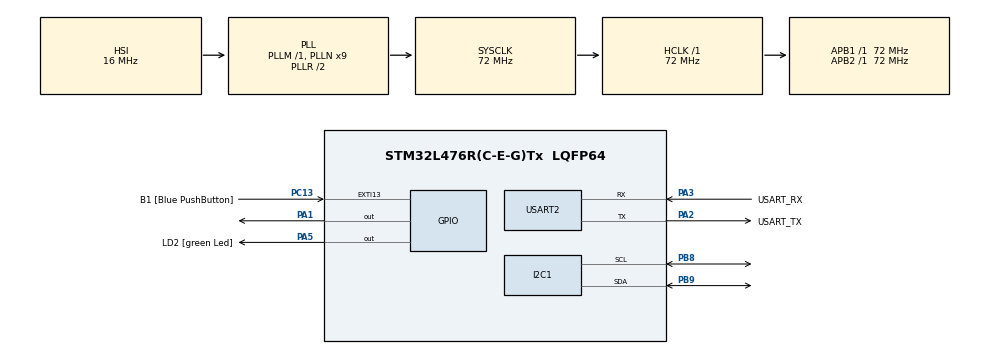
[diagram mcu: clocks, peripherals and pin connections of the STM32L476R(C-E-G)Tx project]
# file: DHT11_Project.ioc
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I2C1.Timing=0x10C18DCC
Mcu.Family=STM32L4
Mcu.Name=STM32L476R(C-E-G)Tx
Mcu.Package=LQFP64
NVIC.PriorityGroup=NVIC_PRIORITYGROUP_4
PA1.Signal=GPIO_Output
PA13\ (JTMS-SWDIO).GPIO_Label=TMS
PA13\ (JTMS-SWDIO).Mode=Serial_Wire
PA13\ (JTMS-SWDIO).Signal=SYS_JTMS-SWDIO
PA14\ (JTCK-SWCLK).GPIO_Label=TCK
PA14\ (JTCK-SWCLK).Mode=Serial_Wire
PA14\ (JTCK-SWCLK).Signal=SYS_JTCK-SWCLK
PA2.GPIO_Label=USART_TX
PA2.GPIO_Mode=GPIO_MODE_AF_PP
PA2.GPIO_PuPd=GPIO_NOPULL
PA2.GPIO_Speed=GPIO_SPEED_FREQ_VERY_HIGH
PA2.Mode=Asynchronous
PA2.Signal=USART2_TX
PA3.GPIO_Label=USART_RX
PA3.GPIO_Mode=GPIO_MODE_AF_PP
PA3.GPIO_PuPd=GPIO_NOPULL
PA3.GPIO_Speed=GPIO_SPEED_FREQ_VERY_HIGH
PA3.Mode=Asynchronous
PA3.Signal=USART2_RX
PA5.GPIO_Label=LD2 [green Led]
PA5.GPIO_ModeDefaultOutputPP=GPIO_MODE_OUTPUT_PP
PA5.GPIO_PuPd=GPIO_NOPULL
PA5.GPIO_Speed=GPIO_SPEED_FREQ_LOW
PA5.Signal=GPIO_Output
PB3\ (JTDO-TRACESWO).GPIO_Label=SWO
PB3\ (JTDO-TRACESWO).Signal=SYS_JTDO-SWO
PB8.Mode=I2C
PB8.Signal=I2C1_SCL
PB9.Mode=I2C
PB9.Signal=I2C1_SDA
PC13.GPIO_Label=B1 [Blue PushButton]
PC13.GPIO_ModeDefaultEXTI=GPIO_MODE_IT_FALLING
PC13.GPIO_PuPd=GPIO_NOPULL
PC13.Signal=GPXTI13
PC14-OSC32_IN\ (PC14).Signal=RCC_OSC32_IN
PC15-OSC32_OUT\ (PC15).Signal=RCC_OSC32_OUT
PH0-OSC_IN\ (PH0).Mode=HSE-External-Oscillator
PH0-OSC_IN\ (PH0).Signal=RCC_OSC_IN
PH1-OSC_OUT\ (PH1).Mode=HSE-External-Oscillator
PH1-OSC_OUT\ (PH1).Signal=RCC_OSC_OUT
ProjectManager.HeapSize=0x200
ProjectManager.StackSize=0x400
ProjectManager.TargetToolchain=STM32CubeIDE
RCC.ADCFreq_Value=64000000
RCC.AHBFreq_Value=72000000
RCC.APB1Freq_Value=72000000
RCC.APB1TimFreq_Value=72000000
RCC.APB2Freq_Value=72000000
RCC.APB2TimFreq_Value=72000000
RCC.CortexFreq_Value=72000000
RCC.HCLKFreq_Value=72000000
RCC.HSE_VALUE=8000000
RCC.HSI_VALUE=16000000
RCC.MSI_VALUE=4000000
RCC.PLLN=9
RCC.PLLSourceVirtual=RCC_PLLSOURCE_HSI
RCC.PREFETCH_ENABLE=1
RCC.SYSCLKFreq_VALUE=72000000
RCC.SYSCLKSource=RCC_SYSCLKSOURCE_PLLCLK
RCC.USBFreq_Value=64000000
RCC.VCOOutputFreq_Value=144000000
TIM1.Prescaler=71
USART2.VirtualMode-Asynchronous=VM_ASYNC
VP_TIM1_VS_ClockSourceINT.Mode=Internal
board=NUCLEO-L476RG

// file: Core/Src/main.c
/* USER CODE BEGIN Header */
/**
  ******************************************************************************
  * @file           : main.c
  * @brief          : Main program body
  ******************************************************************************
  * @attention
  *
  * Copyright (c) 2026 STMicroelectronics.
  * All rights reserved.
  *
  * This software is licensed under terms that can be found in the LICENSE file
  * in the root directory of this software component.
  * If no LICENSE file comes with this software, it is provided AS-IS.
  *
  ******************************************************************************
  */
/* USER CODE END Header */
#include "main.h"
#include "i2c.h"
#include "tim.h"
#include "usart.h"
#include "gpio.h"

/* USER CODE BEGIN Includes */
#include "lcd.h"
#include "stdio.h"
/* USER CODE END Includes */

/* USER CODE BEGIN PTD */

void delay (uint16_t time)
{
	/* change your code here for the delay in microseconds */
	__HAL_TIM_SET_COUNTER(&htim1, 0);
	while ((__HAL_TIM_GET_COUNTER(&htim1))<time);
}

/* USER CODE END PTD */

void SystemClock_Config(void);

/* USER CODE BEGIN 0 */

#define DHT22_PORT GPIOA
#define DHT22_PIN GPIO_PIN_1
uint8_t RH1, RH2, TC1, TC2, SUM, CHECK;
uint32_t pMillis, cMillis;
float tCelsius = 0;
float tFahrenheit = 0;
float RH = 0;

void Display_Temp (float Temp)
{
	lcd_position(&hi2c1, 0, 0);
	char buffer[16];
	snprintf(buffer, sizeof(buffer), "TEMP: %.2f C", Temp);
	lcd_print(&hi2c1, buffer);

}

void Display_Rh (float Rh)
{
	 lcd_position(&hi2c1, 0, 1);

	 char buffer[16];
	 snprintf(buffer, sizeof(buffer), "HUMIDITY: %.2f ", Rh);
	 lcd_print(&hi2c1, buffer);

	  lcd_print(&hi2c1,buffer);

}

uint8_t DHT22_Start (void)
{
  uint8_t Response = 0;
  GPIO_InitTypeDef GPIO_InitStructPrivate = {0};
  GPIO_InitStructPrivate.Pin = DHT22_PIN;
  GPIO_InitStructPrivate.Mode = GPIO_MODE_OUTPUT_PP;
  GPIO_InitStructPrivate.Speed = GPIO_SPEED_FREQ_LOW;
  GPIO_InitStructPrivate.Pull = GPIO_NOPULL;
  HAL_GPIO_Init(DHT22_PORT, &GPIO_InitStructPrivate); // set the pin as output
  HAL_GPIO_WritePin (DHT22_PORT, DHT22_PIN, 0);   // pull the pin low
  delay (1300);   // wait for 1300us
  HAL_GPIO_WritePin (DHT22_PORT, DHT22_PIN, 1);   // pull the pin high
  delay (30);   // wait for 30us
  GPIO_InitStructPrivate.Mode = GPIO_MODE_INPUT;
  GPIO_InitStructPrivate.Pull = GPIO_PULLUP;
  HAL_GPIO_Init(DHT22_PORT, &GPIO_InitStructPrivate); // set the pin as input
  delay (40);
  if (!(HAL_GPIO_ReadPin (DHT22_PORT, DHT22_PIN)))
  {
    delay (80);
    if ((HAL_GPIO_ReadPin (DHT22_PORT, DHT22_PIN))) Response = 1;
  }
  pMillis = HAL_GetTick();
  cMillis = HAL_GetTick();
  while ((HAL_GPIO_ReadPin (DHT22_PORT, DHT22_PIN)) && pMillis + 2 > cMillis)
  {
    cMillis = HAL_GetTick();
  }
  return Response;
}

/*
 * On lit bit par bit du MSB au LSB
 * On obtient le nombre de ticks du microcontrolleur via la fonction HAL_GetTick()
 * Tant que le bit est à 0, on attend tout en actualisant la valuer de cMillis
 *
 * L'idée ici c'est que "0" correspond à un HIGH pendant 26-28us et que "1" corresponde à "70us"
 * Donc chaque fois on attend que le Pin passe à 0 avant d'enclencher le cycle
 *
 * Ensuite, on attend que le pin passe à 1, puis on attend 40s,
 * Après 40s, si le pin est toujours HIGH ca signifie qu'on a un "1"
 * Si non le pin sera à LOW et on a donc un "0"
 *
 * Après on verifie si le pin est à LOW avant de lire les autres bits
 * */
uint8_t DHT22_Read (void)
{
  uint8_t a,b;
  for (a=0;a<8;a++)
  {
    pMillis = HAL_GetTick();
    cMillis = HAL_GetTick();
    while (!(HAL_GPIO_ReadPin (DHT22_PORT, DHT22_PIN)) && pMillis + 2 > cMillis)
    {  // wait for the pin to go high
      cMillis = HAL_GetTick();
    }
    delay (40);   // wait for 40 us
    if (!(HAL_GPIO_ReadPin (DHT22_PORT, DHT22_PIN)))   // if the pin is low
      b&= ~(1<<(7-a));
    else
      b|= (1<<(7-a));            // if the pin is high
    pMillis = HAL_GetTick();
    cMillis = HAL_GetTick();
    while ((HAL_GPIO_ReadPin (DHT22_PORT, DHT22_PIN)) && pMillis + 2 > cMillis)
    {  // wait for the pin to go low
      cMillis = HAL_GetTick();
    }
  }
  return b;
}

/* USER CODE END 0 */

int main(void)
{

  /* MCU Configuration--------------------------------------------------------*/

  /* Reset of all peripherals, Initializes the Flash interface and the Systick. */
  HAL_Init();

  /* Configure the system clock */
  SystemClock_Config();

  /* Initialize all configured peripherals */
  MX_GPIO_Init();
  MX_USART2_UART_Init();
  MX_I2C1_Init();
  MX_TIM1_Init();
  /* USER CODE BEGIN 2 */
  rgb_lcd lcd;
  lcd_init(&hi2c1, &lcd);
  /* USER CODE END 2 */
  HAL_TIM_Base_Start(&htim1);
  /* Infinite loop */
  while (1)
  {
	  if(DHT22_Start())
	  	    {
	  	      RH1 = DHT22_Read(); // First 8bits of humidity
	  	      RH2 = DHT22_Read(); // Second 8bits of Relative humidity
	  	      TC1 = DHT22_Read(); // First 8bits of Celsius
	  	      TC2 = DHT22_Read(); // Second 8bits of Celsius
	  	      SUM = DHT22_Read(); // Check sum
	  	      CHECK = RH1 + RH2 + TC1 + TC2;
	  	      if (CHECK == SUM)
	  	      {
	  	        if (TC1>127) // If TC1=10000000, negative temperature
	  	        {
	  	          tCelsius = (float)TC2/10*(-1);
	  	        }
	  	        else
	  	        {
	  	          tCelsius = (float)((TC1<<8)|TC2)/10;
	  	        }
	  	        tFahrenheit = tCelsius * 9/5 + 32;
	  	        RH = (float) ((RH1<<8)|RH2)/10;
	  	      }
	  	    }
	  Display_Temp(tCelsius);
	  Display_Rh(RH);
	  HAL_Delay(1000);
  }
}

void SystemClock_Config(void)
{
  RCC_OscInitTypeDef RCC_OscInitStruct = {0};
  RCC_ClkInitTypeDef RCC_ClkInitStruct = {0};

  /** Configure the main internal regulator output voltage
  */
  if (HAL_PWREx_ControlVoltageScaling(PWR_REGULATOR_VOLTAGE_SCALE1) != HAL_OK)
  {
    Error_Handler();
  }

  /** Initializes the RCC Oscillators according to the specified parameters
  * in the RCC_OscInitTypeDef structure.
  */
  RCC_OscInitStruct.OscillatorType = RCC_OSCILLATORTYPE_HSI;
  RCC_OscInitStruct.HSIState = RCC_HSI_ON;
  RCC_OscInitStruct.HSICalibrationValue = RCC_HSICALIBRATION_DEFAULT;
  RCC_OscInitStruct.PLL.PLLState = RCC_PLL_ON;
  RCC_OscInitStruct.PLL.PLLSource = RCC_PLLSOURCE_HSI;
  RCC_OscInitStruct.PLL.PLLM = 1;
  RCC_OscInitStruct.PLL.PLLN = 9;
  RCC_OscInitStruct.PLL.PLLP = RCC_PLLP_DIV7;
  RCC_OscInitStruct.PLL.PLLQ = RCC_PLLQ_DIV2;
  RCC_OscInitStruct.PLL.PLLR = RCC_PLLR_DIV2;
  if (HAL_RCC_OscConfig(&RCC_OscInitStruct) != HAL_OK)
  {
    Error_Handler();
  }

  /** Initializes the CPU, AHB and APB buses clocks
  */
  RCC_ClkInitStruct.ClockType = RCC_CLOCKTYPE_HCLK|RCC_CLOCKTYPE_SYSCLK
                              |RCC_CLOCKTYPE_PCLK1|RCC_CLOCKTYPE_PCLK2;
  RCC_ClkInitStruct.SYSCLKSource = RCC_SYSCLKSOURCE_PLLCLK;
  RCC_ClkInitStruct.AHBCLKDivider = RCC_SYSCLK_DIV1;
  RCC_ClkInitStruct.APB1CLKDivider = RCC_HCLK_DIV1;
  RCC_ClkInitStruct.APB2CLKDivider = RCC_HCLK_DIV1;

  if (HAL_RCC_ClockConfig(&RCC_ClkInitStruct, FLASH_LATENCY_4) != HAL_OK)
  {
    Error_Handler();
  }
}

void Error_Handler(void)
{
  __disable_irq();
  while (1)
  {
  }
}
